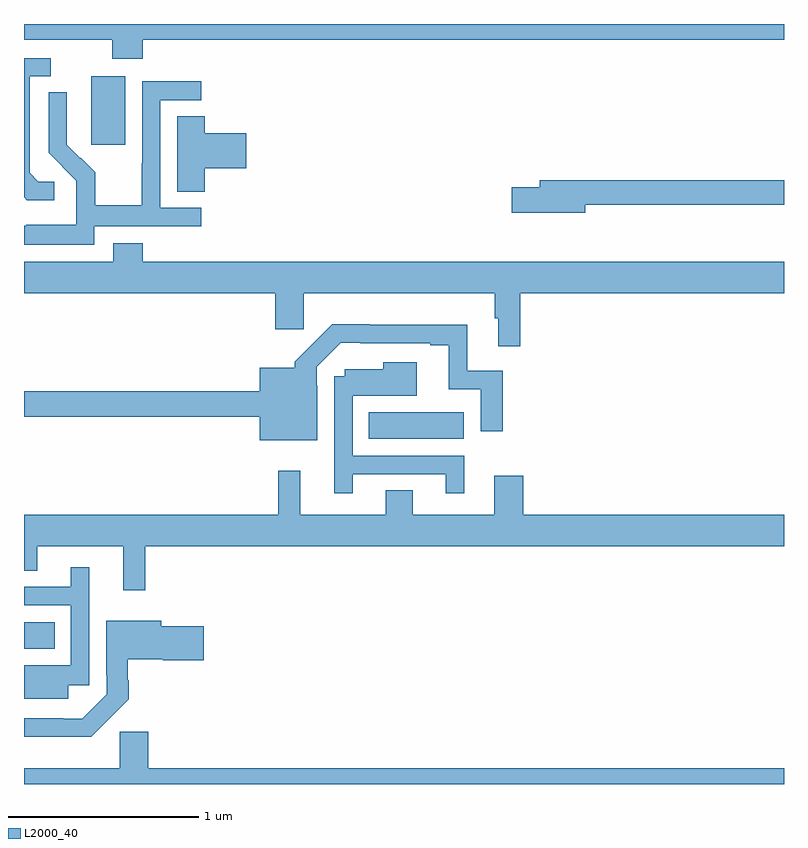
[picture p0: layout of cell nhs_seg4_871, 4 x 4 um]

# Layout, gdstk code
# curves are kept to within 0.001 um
import gdstk
lib = gdstk.Library(unit=1e-6, precision=1e-09)
def R(c, l, rs):  # rectangles x0, y0, x1, y1
    for r in rs: c.add(gdstk.rectangle(r[:2], r[2:], *l))
def P(c, l, *ps):  # polygons
    for p in ps: c.add(gdstk.Polygon(p, *l))
L2000_40 = (2000, 40)

nhs_seg4_871 = lib.new_cell('nhs_seg4_871')
R(nhs_seg4_871, L2000_40, [(155,797.612,155.162,797.752), (156.814,798.716,157.315,798.856), (155.354,800.265,155.533,800.626)])
P(nhs_seg4_871, L2000_40, [(155.624,800.816),(159,800.816),(159,800.9),(155,800.9),(155,800.816),(155.464,800.816),(155.464,800.717),(155.624,800.717)],
  [(155.158,800.07),(155.076,800.07),(155.029,800.117),(155.029,800.625),(155.14,800.625),(155.14,800.721),(155,800.721),(155,799.987),(155.014,799.973),(155.158,799.973)],
  [(155.37,799.836),(155.932,799.836),(155.932,799.932),(155.718,799.932),(155.718,800.499),(155.932,800.499),(155.932,800.598),(155.622,800.598),(155.622,800.168),(155.62,800.168),(155.62,799.945),(155.375,799.945),(155.375,800.119),(155.298,800.196),(155.295,800.193),(155.225,800.264),(155.226,800.54),(155.13,800.54),(155.13,800.222),(155.276,800.074),(155.276,799.977),(155.274,799.977),(155.274,799.843),(155.011,799.843),(155.011,799.839),(155,799.839),(155,799.739),(155.37,799.739)],
  [(155.951,800.141),(156.169,800.141),(156.169,800.324),(155.951,800.324),(155.951,800.414),(155.807,800.414),(155.807,800.017),(155.951,800.017)],
  [(157.954,799.95),(159,799.95),(159,800.078),(157.715,800.078),(157.715,800.042),(157.566,800.042),(157.566,799.907),(157.954,799.907)],
  [(157.613,799.484),(159,799.484),(159,799.648),(155.624,799.648),(155.624,799.747),(155.471,799.747),(155.471,799.648),(155,799.648),(155,799.484),(156.323,799.484),(156.323,799.293),(156.473,799.293),(156.473,799.484),(157.477,799.484),(157.477,799.352),(157.496,799.352),(157.496,799.203),(157.613,799.203)],
  [(156.544,798.995),(156.54,798.995),(156.54,799.095),(156.668,799.223),(156.769,799.223),(156.769,799.221),(157.139,799.221),(157.139,799.209),(157.235,799.209),(157.235,798.978),(157.404,798.978),(157.404,798.756),(157.52,798.756),(157.52,799.074),(157.333,799.074),(157.333,799.318),(156.821,799.318),(156.821,799.321),(156.622,799.321),(156.425,799.123),(156.425,799.09),(156.242,799.09),(156.242,798.968),(155,798.968),(155,798.832),(156.242,798.832),(156.242,798.71),(156.544,798.71)],
  [(156.73,798.531),(157.22,798.531),(157.22,798.429),(157.318,798.429),(157.318,798.627),(156.729,798.627),(156.729,798.944),(157.066,798.944),(157.066,799.12),(156.89,799.12),(156.89,799.084),(156.687,799.084),(156.687,799.047),(156.633,799.047),(156.633,798.429),(156.73,798.429)],
  [(155.639,798.152),(159,798.152),(159,798.316),(157.628,798.316),(157.628,798.523),(157.475,798.523),(157.475,798.316),(157.045,798.316),(157.045,798.446),(156.905,798.446),(156.905,798.316),(156.455,798.316),(156.455,798.55),(156.337,798.55),(156.337,798.316),(155,798.316),(155,798.022),(155.071,798.022),(155.071,798.152),(155.522,798.152),(155.522,797.919),(155.639,797.919)],
  [(155.233,797.421),(155.343,797.421),(155.343,798.04),(155.246,798.04),(155.246,797.937),(155,797.937),(155,797.841),(155.247,797.841),(155.247,797.524),(155,797.524),(155,797.348),(155.233,797.348)],
  [(155.552,797.345),(155.552,797.447),(155.545,797.447),(155.545,797.557),(155.73,797.557),(155.73,797.552),(155.947,797.552),(155.947,797.73),(155.722,797.73),(155.722,797.758),(155.433,797.758),(155.433,797.473),(155.436,797.473),(155.436,797.373),(155.307,797.244),(155.207,797.244),(155.207,797.247),(155,797.247),(155,797.15),(155.155,797.15),(155.155,797.148),(155.354,797.148)],
  [(159,796.984),(155.654,796.984),(155.654,797.175),(155.503,797.175),(155.503,796.984),(155,796.984),(155,796.9),(159,796.9)])

lib.write_gds('nhs_seg4_871.gds')
